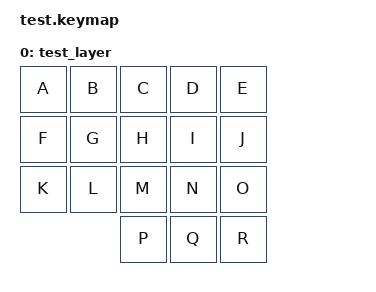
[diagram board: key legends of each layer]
#include <behaviors.dtsi>
#include <dt-bindings/zmk/keys.h>
#include <dt-bindings/zmk/bt.h>
#include <dt-bindings/zmk/ext_power.h>

/ {
  keymap {
    compatible = "zmk,keymap";
     
    /*test_layer {
      bindings = <
        &bt BT_NXT &bt BT_SEL 0 &bt BT_SEL 1 &bt BT_SEL 2 &bt BT_SEL 3
        &kp M &kp N &kp E &kp I &kp O 
        &kp K &kp H &kp COMMA &kp DOT &kp SLASH 
        &kp ENTER &kp BACKSPACE &ext_power EP_TOG
      >;
    };*/

    
    test_layer {
      bindings = <
        &kp A &kp B &kp C &kp D &kp E
        &kp F &kp G &kp H &kp I &kp J 
        &kp K &kp L &kp M &kp N &kp O 
                    &kp P &kp Q &kp R
      >;
    };

  };
};
